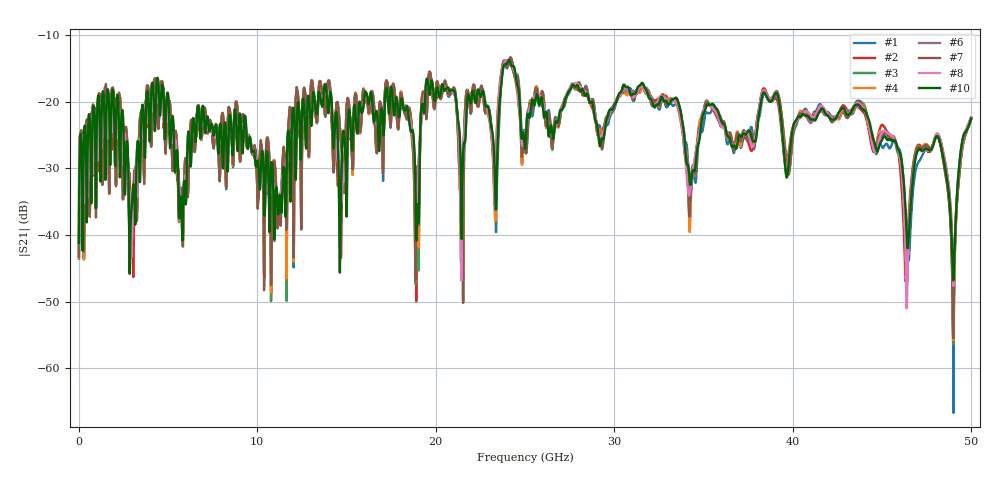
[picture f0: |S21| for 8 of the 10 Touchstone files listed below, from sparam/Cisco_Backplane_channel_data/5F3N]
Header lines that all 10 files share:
!Agilent Technologies,N5247A,US51170199,A.09.90.13
!Agilent N5247A: A.09.90.13
!Correction: S11(Full 4 Port(1,2,3,4))
!S12(Full 4 Port(1,2,3,4))
!S13(Full 4 Port(1,2,3,4))
!S14(Full 4 Port(1,2,3,4))
!S21(Full 4 Port(1,2,3,4))
!S22(Full 4 Port(1,2,3,4))
!S23(Full 4 Port(1,2,3,4))
!S24(Full 4 Port(1,2,3,4))
!S31(Full 4 Port(1,2,3,4))
!S32(Full 4 Port(1,2,3,4))
!S33(Full 4 Port(1,2,3,4))
!S34(Full 4 Port(1,2,3,4))
!S41(Full 4 Port(1,2,3,4))
!S42(Full 4 Port(1,2,3,4))
!S43(Full 4 Port(1,2,3,4))
!S44(Full 4 Port(1,2,3,4))
!S4P File: Measurements: <S11,S12,S13,S14>,
!<S21,S22,S23,S24>,
!<S31,S32,S33,S34>,
!<S41,S42,S43,S44>:
# Hz S  dB  R 50
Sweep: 10 MHz to 50 GHz
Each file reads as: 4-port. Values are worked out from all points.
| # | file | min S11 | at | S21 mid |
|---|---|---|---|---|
| 1 | Ch1_10_5F3N_f3.s4p | -46.6 dB | 31.61 GHz | -25.9 dB at 25 GHz |
| 2 | Ch3_17_5F3N_t.s4p | -49.2 dB | 6.759 GHz | -24.8 dB at 25 GHz |
| 3 | Ch4_20_5F3N_f1.s4p | -53.0 dB | 10.8 GHz | -26.2 dB at 25 GHz |
| 4 | Ch4_20_5F3N_f3.s4p | -55.8 dB | 32.72 GHz | -26.6 dB at 25 GHz |
| 5 | Ch4_20_5F3N_f4.s4p | -49.7 dB | 32.72 GHz | -26.4 dB at 25 GHz |
| 6 | Ch4_20_5F3N_n2.s4p | -58.9 dB | 23.66 GHz | -26.8 dB at 25 GHz |
| 7 | Ch4_20_5F3N_t.s4p | -46.7 dB | 32.72 GHz | -26.4 dB at 25 GHz |
| 8 | Ch8_30_5F3N_f1.s4p | -56.9 dB | 31.58 GHz | -25.5 dB at 25 GHz |
| 9 | Ch8_30_5F3N_f3.s4p | -50.2 dB | 31.58 GHz | -25.3 dB at 25 GHz |
| 10 | Ch10_35_5F3N_n3.s4p | -52.0 dB | 23.66 GHz | -27.1 dB at 25 GHz |
